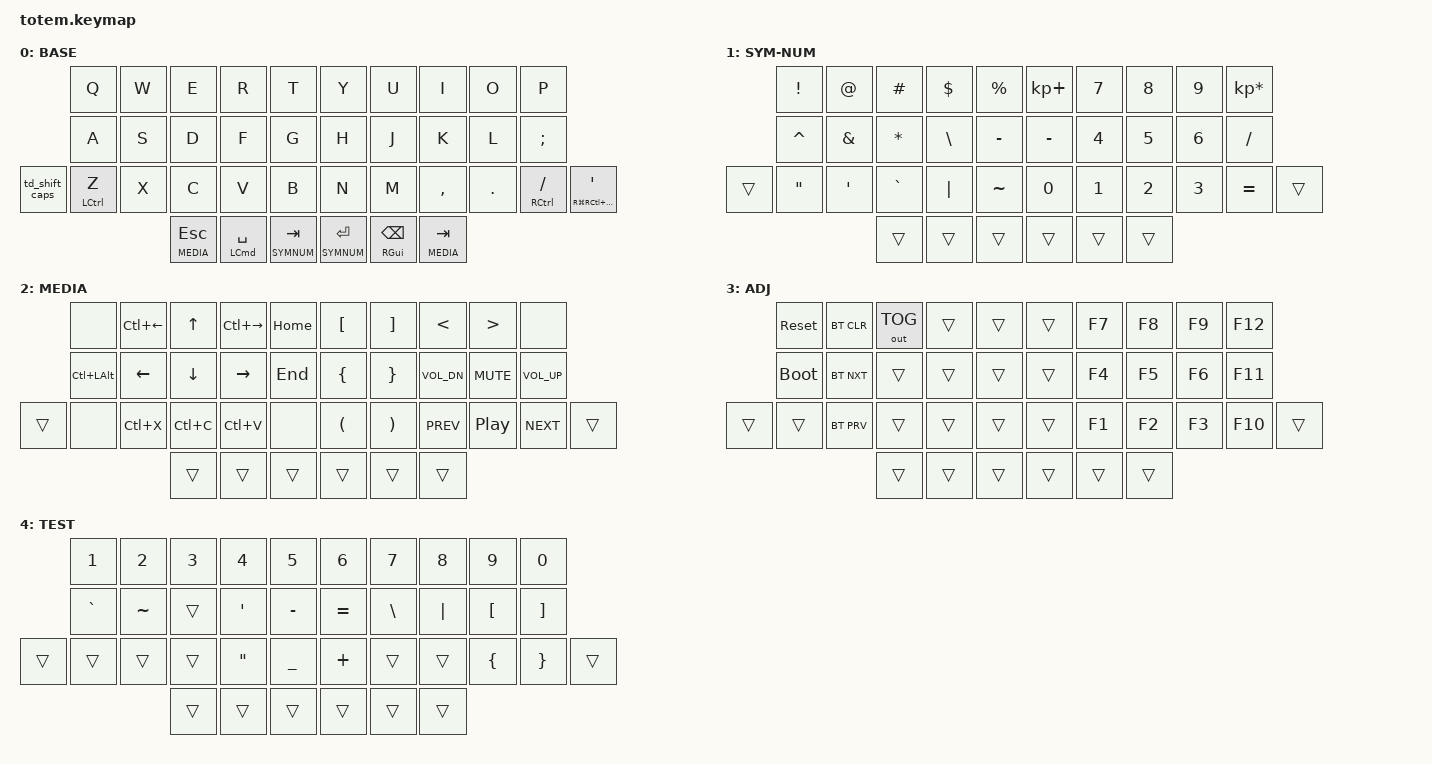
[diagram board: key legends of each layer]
//
//                                                        ▀▀▀▀▀     ▀▀▀▀▀          ▀▀█▀▀
//                                                        ▄▀▀▀▄  ▄  ▄▀▀▀▄  ▄  ▄▀▀▀▄  █  ▄▀▀▀▄
//                                                        █   █  █  █   █  █  █   █  █  █   █
//                                                         ▀▀▀   █   ▀▀▀   █   ▀▀▀   ▀   ▀▀▀
//                                                               █      ▄▄▄█▄▄▄    █   █  
//                                                               ▀      █  █  █     █▄█
//                                                             ▀▀▀▀▀    █  █  █      ▀
//                                                                      ▀  ▀  ▀
//
// ▄▄▄▄▄▄▄▄▄▄▄▄▄▄▄▄▄▄▄▄▄▄▄▄▄▄▄▄▄▄▄▄▄▄▄▄▄▄▄▄▄▄▄▄▄▄▄▄▄▄▄▄▄▄▄▄▄▄▄▄▄▄▄▄▄▄▄▄▄▄▄▄▄▄▄▄▄▄▄▄▄▄▄▄▄▄▄▄▄▄▄▄▄▄▄▄▄▄▄▄▄▄▄▄▄▄▄▄▄▄▄▄▄▄▄▄▄▄▄▄▄▄▄▄▄▄▄▄▄▄▄▄▄▄▄▄▄▄▄▄▄▄▄▄▄▄▄▄▄

#include <behaviors.dtsi>
#include <dt-bindings/zmk/bt.h>
#include <dt-bindings/zmk/keys.h>
#include <dt-bindings/zmk/outputs.h>

#define BASE   0
#define SYMNUM 1
#define MEDIA  2
#define ADJ    3
#define TEST   4

&mt {
    quick-tap-ms = <100>;
    global-quick-tap;
    flavor = "tap-preferred";
    tapping-term-ms = <250>;
};

/ {
    combos {
        compatible = "zmk,combos";

        combo_esc {
            timeout-ms = <50>;
            key-positions = <0 1>;
            bindings = <&kp ESC>;
        };

        combo_adj {
            timeout-ms = <50>;
            key-positions = <34 35>;
            bindings = <&mo ADJ>;
        };

        Backspace {
            bindings = <&kp BACKSPACE>;
            key-positions = <33 36>;
        };
    };

    behaviors {
        td_shift_caps: tap_dance_shift_caps {
            compatible = "zmk,behavior-tap-dance";
            #binding-cells = <0>;
            tapping-term-ms = <200>;
            bindings = <&kp LSHFT>, <&kp CAPS>;
        };
    };

    macros {
        gif: gif {
            label = "giphy";
            compatible = "zmk,behavior-macro";
            #binding-cells = <0>;
            bindings =
                <&macro_press>,
                <&kp LSHFT>,
                <&macro_tap>,
                <&kp N2>,
                <&macro_release>,
                <&kp LSHFT>,
                <&macro_tap>,
                <&kp G &kp I &kp F>;
        };
    };

    keymap {
        compatible = "zmk,keymap";

        // ▄▄▄▄▄▄▄▄▄▄▄▄▄▄▄▄▄▄▄▄▄▄▄▄▄▄▄▄▄▄▄▄▄▄▄▄▄▄▄▄▄▄▄▄▄▄▄▄▄▄▄▄▄▄▄▄▄▄▄▄▄▄▄▄▄▄▄▄▄▄▄▄▄▄▄▄▄▄▄▄▄▄▄▄▄▄▄▄▄▄▄▄▄▄▄▄▄▄▄▄▄▄▄▄▄▄▄▄▄▄▄▄▄▄▄▄▄▄▄▄▄▄▄▄▄▄▄▄▄▄▄▄▄▄▄▄▄▄▄▄▄▄▄▄▄▄▄▄▄

        base_layer {
            // ┏━━━━━━━━━━━━━━━━━━━━━━━━━━━━━━━━━━━━━━━┓

            label = "BASE";

            // ┗━━━━━━━━━━━━━━━━━━━━━━━━━━━━━━━━━━━━━━━┛
            //             ┏━━━━━━━━━━━┳━━━━━━━━━━━┳━━━━━━━━━━━┳━━━━━━━━━━━┳━━━━━━━━━━━┓   ┏━━━━━━━━━━━┳━━━━━━━━━━━┳━━━━━━━━━━━┳━━━━━━━━━━━┳━━━━━━━━━━━┓
            //             ┃     Q     ┃     W     ┃     E     ┃     R     ┃     T     ┃   ┃     Y     ┃     U     ┃     I     ┃     O     ┃     P     ┃
            //             ┣━━━━━━━━━━━╋━━━━━━━━━━━╋━━━━━━━━━━━╋━━━━━━━━━━━╋━━━━━━━━━━━┫   ┣━━━━━━━━━━━╋━━━━━━━━━━━╋━━━━━━━━━━━╋━━━━━━━━━━━╋━━━━━━━━━━━┫
            //             ┃     A     ┃     S     ┃     D     ┃     F     ┃     G     ┃   ┃     H     ┃     J     ┃     K     ┃     L     ┃     ;     ┃
            // ┏━━━━━━━━━━━╋━━━━━━━━━━━╋━━━━━━━━━━━╋━━━━━━━━━━━╋━━━━━━━━━━━╋━━━━━━━━━━━┫   ┣━━━━━━━━━━━╋━━━━━━━━━━━╋━━━━━━━━━━━╋━━━━━━━━━━━╋━━━━━━━━━━━╋━━━━━━━━━━━┓
            // ┃SHFT/CAPS  ┃     Z     ┃     X     ┃     C     ┃     V     ┃     B     ┃   ┃     N     ┃     M     ┃     ,     ┃     .     ┃  / RCTRL  ┃ ' / HYPER ┃
            // ┗━━━━━━━━━━━┻━━━━━━━━━━━┻━━━━━━━━━━━╋━━━━━━━━━━━╋━━━━━━━━━━━╋━━━━━━━━━━━┫   ┣━━━━━━━━━━━╋━━━━━━━━━━━╋━━━━━━━━━━━╋━━━━━━━━━━━┻━━━━━━━━━━━┻━━━━━━━━━━━┛
            //                                     ┃ ESC/MEDIA ┃ SPC / CMD ┃TAB/SYMNUM ┃   ┃RET/SYMNUM ┃ BSPC/ CMD ┃ TAB/MEDIA ┃
            //                                     ┗━━━━━━━━━━━┻━━━━━━━━━━━┻━━━━━━━━━━━┛   ┗━━━━━━━━━━━┻━━━━━━━━━━━┻━━━━━━━━━━━┛

            bindings = <
                &kp Q        &kp W  &kp E          &kp R                   &kp T             &kp Y           &kp U          &kp I          &kp O    &kp P
                &kp A        &kp S  &kp D          &kp F                   &kp G             &kp H           &kp J          &kp K          &kp L    &kp SEMI
&td_shift_caps  &mt LCTRL Z  &kp X  &kp C          &kp V                   &kp B             &kp N           &kp M          &kp COMMA      &kp DOT  &mt RCTRL FSLH  &mt RG(RC(RA(RSHFT))) SQT
                                    &lt MEDIA ESC  &mt LEFT_COMMAND SPACE  &lt SYMNUM TAB    &lt SYMNUM RET  &mt RGUI BSPC  &lt MEDIA TAB
            >;
        };

        // ▄▄▄▄▄▄▄▄▄▄▄▄▄▄▄▄▄▄▄▄▄▄▄▄▄▄▄▄▄▄▄▄▄▄▄▄▄▄▄▄▄▄▄▄▄▄▄▄▄▄▄▄▄▄▄▄▄▄▄▄▄▄▄▄▄▄▄▄▄▄▄▄▄▄▄▄▄▄▄▄▄▄▄▄▄▄▄▄▄▄▄▄▄▄▄▄▄▄▄▄▄▄▄▄▄▄▄▄▄▄▄▄▄▄▄▄▄▄▄▄▄▄▄▄▄▄▄▄▄▄▄▄▄▄▄▄▄▄▄▄▄▄▄▄▄▄▄▄▄

        symnum_layer {
            // ┏━━━━━━━━━━━━━━━━━━━━━━━━━━━━━━━━━━━━━━━┓

            label = "SYM-NUM";

            // ┗━━━━━━━━━━━━━━━━━━━━━━━━━━━━━━━━━━━━━━━┛
            //             ┏━━━━━━━━━━━┳━━━━━━━━━━━┳━━━━━━━━━━━┳━━━━━━━━━━━┳━━━━━━━━━━━┓   ┏━━━━━━━━━━━┳━━━━━━━━━━━┳━━━━━━━━━━━┳━━━━━━━━━━━┳━━━━━━━━━━━┓
            //             ┃     !     ┃     @     ┃     #     ┃     $     ┃     %     ┃   ┃     +     ┃     7     ┃     8     ┃     9     ┃     *     ┃
            //             ┣━━━━━━━━━━━╋━━━━━━━━━━━╋━━━━━━━━━━━╋━━━━━━━━━━━╋━━━━━━━━━━━┫   ┣━━━━━━━━━━━╋━━━━━━━━━━━╋━━━━━━━━━━━╋━━━━━━━━━━━╋━━━━━━━━━━━┫
            //             ┃     ^     ┃     &     ┃     *     ┃     \     ┃     -     ┃   ┃     -     ┃     4     ┃     5     ┃     6     ┃     /     ┃
            // ┏━━━━━━━━━━━╋━━━━━━━━━━━╋━━━━━━━━━━━╋━━━━━━━━━━━╋━━━━━━━━━━━╋━━━━━━━━━━━┫   ┣━━━━━━━━━━━╋━━━━━━━━━━━╋━━━━━━━━━━━╋━━━━━━━━━━━╋━━━━━━━━━━━╋━━━━━━━━━━━┓
            // ┃           ┃     "     ┃     '     ┃     `     ┃     |     ┃     ~     ┃   ┃     0     ┃     1     ┃     2     ┃     3     ┃     =     ┃           ┃
            // ┗━━━━━━━━━━━┻━━━━━━━━━━━┻━━━━━━━━━━━╋━━━━━━━━━━━╋━━━━━━━━━━━╋━━━━━━━━━━━┫   ┣━━━━━━━━━━━╋━━━━━━━━━━━╋━━━━━━━━━━━╋━━━━━━━━━━━┻━━━━━━━━━━━┻━━━━━━━━━━━┛
            //                                     ┃           ┃           ┃           ┃   ┃           ┃           ┃           ┃
            //                                     ┗━━━━━━━━━━━┻━━━━━━━━━━━┻━━━━━━━━━━━┛   ┗━━━━━━━━━━━┻━━━━━━━━━━━┻━━━━━━━━━━━┛

            bindings = <
        &kp EXCL   &kp AT    &kp HASH   &kp DLLR  &kp PRCNT    &kp KP_PLUS  &kp N7  &kp N8  &kp N9  &kp KP_MULTIPLY
        &kp CARET  &kp AMPS  &kp ASTRK  &kp BSLH  &kp MINUS    &kp MINUS    &kp N4  &kp N5  &kp N6  &kp FSLH
&trans  &kp DQT    &kp SQT   &kp GRAVE  &kp PIPE  &kp TILDE    &kp N0       &kp N1  &kp N2  &kp N3  &kp EQUAL        &trans
                             &trans     &trans    &trans       &trans       &trans  &trans
            >;
        };

        // ▄▄▄▄▄▄▄▄▄▄▄▄▄▄▄▄▄▄▄▄▄▄▄▄▄▄▄▄▄▄▄▄▄▄▄▄▄▄▄▄▄▄▄▄▄▄▄▄▄▄▄▄▄▄▄▄▄▄▄▄▄▄▄▄▄▄▄▄▄▄▄▄▄▄▄▄▄▄▄▄▄▄▄▄▄▄▄▄▄▄▄▄▄▄▄▄▄▄▄▄▄▄▄▄▄▄▄▄▄▄▄▄▄▄▄▄▄▄▄▄▄▄▄▄▄▄▄▄▄▄▄▄▄▄▄▄▄▄▄▄▄▄▄▄▄▄▄▄▄

        media_layer {
            // ┏━━━━━━━━━━━━━━━━━━━━━━━━━━━━━━━━━━━━━━━┓

            label = "MEDIA";

            // ┗━━━━━━━━━━━━━━━━━━━━━━━━━━━━━━━━━━━━━━━┛
            //             ┏━━━━━━━━━━━┳━━━━━━━━━━━┳━━━━━━━━━━━┳━━━━━━━━━━━┳━━━━━━━━━━━┓   ┏━━━━━━━━━━━┳━━━━━━━━━━━┳━━━━━━━━━━━┳━━━━━━━━━━━┳━━━━━━━━━━━┓
            //             ┃           ┃ CTRL+LEFT ┃     UP    ┃CTRL+RIGHT ┃   HOME    ┃   ┃     [     ┃     ]     ┃     <     ┃     >     ┃           ┃
            //             ┣━━━━━━━━━━━╋━━━━━━━━━━━╋━━━━━━━━━━━╋━━━━━━━━━━━╋━━━━━━━━━━━┫   ┣━━━━━━━━━━━╋━━━━━━━━━━━╋━━━━━━━━━━━╋━━━━━━━━━━━╋━━━━━━━━━━━┫
            //             ┃ CTRL+ALT  ┃   LEFT    ┃    DOWN   ┃   RIGHT   ┃    END    ┃   ┃     {     ┃     }     ┃   VOL-    ┃   MUTE    ┃   VOL+    ┃
            // ┏━━━━━━━━━━━╋━━━━━━━━━━━╋━━━━━━━━━━━╋━━━━━━━━━━━╋━━━━━━━━━━━╋━━━━━━━━━━━┫   ┣━━━━━━━━━━━╋━━━━━━━━━━━╋━━━━━━━━━━━╋━━━━━━━━━━━╋━━━━━━━━━━━╋━━━━━━━━━━━┓
            // ┃           ┃           ┃           ┃           ┃           ┃           ┃   ┃     (     ┃     )     ┃   PREV    ┃   PLAY    ┃   NEXT    ┃           ┃
            // ┗━━━━━━━━━━━┻━━━━━━━━━━━┻━━━━━━━━━━━╋━━━━━━━━━━━╋━━━━━━━━━━━╋━━━━━━━━━━━┫   ┣━━━━━━━━━━━╋━━━━━━━━━━━╋━━━━━━━━━━━╋━━━━━━━━━━━┻━━━━━━━━━━━┻━━━━━━━━━━━┛
            //                                     ┃           ┃           ┃           ┃   ┃           ┃           ┃           ┃
            //                                     ┗━━━━━━━━━━━┻━━━━━━━━━━━┻━━━━━━━━━━━┛   ┗━━━━━━━━━━━┻━━━━━━━━━━━┻━━━━━━━━━━━┛

            bindings = <
        &none         &kp LC(LEFT)  &kp UP     &kp LC(RIGHT)  &kp HOME    &kp LBKT  &kp RBKT  &kp LT        &kp GT      &none
        &kp LC(LALT)  &kp LEFT      &kp DOWN   &kp RIGHT      &kp END     &kp LBRC  &kp RBRC  &kp C_VOL_DN  &kp C_MUTE  &kp C_VOL_UP
&trans  &none         &kp LC(X)     &kp LC(C)  &kp LC(V)      &none       &kp LPAR  &kp RPAR  &kp C_PREV    &kp C_PP    &kp C_NEXT    &trans
                                    &trans     &trans         &trans      &trans    &trans    &trans
            >;
        };

        // ▄▄▄▄▄▄▄▄▄▄▄▄▄▄▄▄▄▄▄▄▄▄▄▄▄▄▄▄▄▄▄▄▄▄▄▄▄▄▄▄▄▄▄▄▄▄▄▄▄▄▄▄▄▄▄▄▄▄▄▄▄▄▄▄▄▄▄▄▄▄▄▄▄▄▄▄▄▄▄▄▄▄▄▄▄▄▄▄▄▄▄▄▄▄▄▄▄▄▄▄▄▄▄▄▄▄▄▄▄▄▄▄▄▄▄▄▄▄▄▄▄▄▄▄▄▄▄▄▄▄▄▄▄▄▄▄▄▄▄▄▄▄▄▄▄▄▄▄▄

        adjust_layer {
            // ┏━━━━━━━━━━━━━━━━━━━━━━━━━━━━━━━━━━━━━━━┓

            label = "ADJ";

            // ┗━━━━━━━━━━━━━━━━━━━━━━━━━━━━━━━━━━━━━━━┛
            //             ┏━━━━━━━━━━━┳━━━━━━━━━━━┳━━━━━━━━━━━┳━━━━━━━━━━━┳━━━━━━━━━━━┓   ┏━━━━━━━━━━━┳━━━━━━━━━━━┳━━━━━━━━━━━┳━━━━━━━━━━━┳━━━━━━━━━━━┓
            //             ┃   RESET   ┃ BT CLEAR  ┃  OUT TOG  ┃           ┃           ┃   ┃           ┃    F7     ┃    F8     ┃    F9     ┃    F12    ┃
            //             ┣━━━━━━━━━━━╋━━━━━━━━━━━╋━━━━━━━━━━━╋━━━━━━━━━━━╋━━━━━━━━━━━┫   ┣━━━━━━━━━━━╋━━━━━━━━━━━╋━━━━━━━━━━━╋━━━━━━━━━━━╋━━━━━━━━━━━┫
            //             ┃ BOOTLOAD  ┃ BT NEXT   ┃           ┃           ┃           ┃   ┃           ┃    F4     ┃    F5     ┃    F6     ┃    F11    ┃
            // ┏━━━━━━━━━━━╋━━━━━━━━━━━╋━━━━━━━━━━━╋━━━━━━━━━━━╋━━━━━━━━━━━╋━━━━━━━━━━━┫   ┣━━━━━━━━━━━╋━━━━━━━━━━━╋━━━━━━━━━━━╋━━━━━━━━━━━╋━━━━━━━━━━━╋━━━━━━━━━━━┓
            // ┃           ┃           ┃ BT PREV   ┃           ┃           ┃           ┃   ┃           ┃    F1     ┃    F2     ┃    F3     ┃    F10    ┃           ┃
            // ┗━━━━━━━━━━━┻━━━━━━━━━━━┻━━━━━━━━━━━╋━━━━━━━━━━━╋━━━━━━━━━━━╋━━━━━━━━━━━┫   ┣━━━━━━━━━━━╋━━━━━━━━━━━╋━━━━━━━━━━━╋━━━━━━━━━━━┻━━━━━━━━━━━┻━━━━━━━━━━━┛
            //                                     ┃           ┃           ┃           ┃   ┃           ┃           ┃           ┃
            //                                     ┗━━━━━━━━━━━┻━━━━━━━━━━━┻━━━━━━━━━━━┛   ┗━━━━━━━━━━━┻━━━━━━━━━━━┻━━━━━━━━━━━┛

            bindings = <
        &sys_reset   &bt BT_CLR  &out OUT_TOG  &trans  &trans    &trans  &kp F7  &kp F8  &kp F9  &kp F12
        &bootloader  &bt BT_NXT  &trans        &trans  &trans    &trans  &kp F4  &kp F5  &kp F6  &kp F11
&trans  &trans       &bt BT_PRV  &trans        &trans  &trans    &trans  &kp F1  &kp F2  &kp F3  &kp F10  &trans
                                 &trans        &trans  &trans    &trans  &trans  &trans
            >;
        };

        // ▄▄▄▄▄▄▄▄▄▄▄▄▄▄▄▄▄▄▄▄▄▄▄▄▄▄▄▄▄▄▄▄▄▄▄▄▄▄▄▄▄▄▄▄▄▄▄▄▄▄▄▄▄▄▄▄▄▄▄▄▄▄▄▄▄▄▄▄▄▄▄▄▄▄▄▄▄▄▄▄▄▄▄▄▄▄▄▄▄▄▄▄▄▄▄▄▄▄▄▄▄▄▄▄▄▄▄▄▄▄▄▄▄▄▄▄▄▄▄▄▄▄▄▄▄▄▄▄▄▄▄▄▄▄▄▄▄▄▄▄▄▄▄▄▄▄▄▄▄

        test_layer {
            // ┏━━━━━━━━━━━━━━━━━━━━━━━━━━━━━━━━━━━━━━━┓

            label = "TEST";

            // ┗━━━━━━━━━━━━━━━━━━━━━━━━━━━━━━━━━━━━━━━┛
            //             ┏━━━━━━━━━━━┳━━━━━━━━━━━┳━━━━━━━━━━━┳━━━━━━━━━━━┳━━━━━━━━━━━┓   ┏━━━━━━━━━━━┳━━━━━━━━━━━┳━━━━━━━━━━━┳━━━━━━━━━━━┳━━━━━━━━━━━┓
            //             ┃     1     ┃     2     ┃     3     ┃     4     ┃     5     ┃   ┃     6     ┃     7     ┃     8     ┃     9     ┃     0     ┃
            //             ┣━━━━━━━━━━━╋━━━━━━━━━━━╋━━━━━━━━━━━╋━━━━━━━━━━━╋━━━━━━━━━━━┫   ┣━━━━━━━━━━━╋━━━━━━━━━━━╋━━━━━━━━━━━╋━━━━━━━━━━━╋━━━━━━━━━━━┫
            //             ┃     `     ┃     ~     ┃           ┃     '     ┃     -     ┃   ┃     =     ┃     \     ┃     |     ┃     [     ┃     ]     ┃
            // ┏━━━━━━━━━━━╋━━━━━━━━━━━╋━━━━━━━━━━━╋━━━━━━━━━━━╋━━━━━━━━━━━╋━━━━━━━━━━━┫   ┣━━━━━━━━━━━╋━━━━━━━━━━━╋━━━━━━━━━━━╋━━━━━━━━━━━╋━━━━━━━━━━━╋━━━━━━━━━━━┓
            // ┃           ┃           ┃           ┃           ┃     "     ┃     _     ┃   ┃     +     ┃           ┃           ┃     {     ┃     }     ┃           ┃
            // ┗━━━━━━━━━━━┻━━━━━━━━━━━┻━━━━━━━━━━━╋━━━━━━━━━━━╋━━━━━━━━━━━╋━━━━━━━━━━━┫   ┣━━━━━━━━━━━╋━━━━━━━━━━━╋━━━━━━━━━━━╋━━━━━━━━━━━┻━━━━━━━━━━━┻━━━━━━━━━━━┛
            //                                     ┃           ┃           ┃           ┃   ┃           ┃           ┃           ┃
            //                                     ┗━━━━━━━━━━━┻━━━━━━━━━━━┻━━━━━━━━━━━┛   ┗━━━━━━━━━━━┻━━━━━━━━━━━┻━━━━━━━━━━━┛

            bindings = <
        &kp N1     &kp N2     &kp N3  &kp N4   &kp N5       &kp N6     &kp N7    &kp N8    &kp N9    &kp N0
        &kp GRAVE  &kp TILDE  &trans  &kp SQT  &kp MINUS    &kp EQUAL  &kp BSLH  &kp PIPE  &kp LBKT  &kp RBKT
&trans  &trans     &trans     &trans  &kp DQT  &kp UNDER    &kp PLUS   &trans    &trans    &kp LBRC  &kp RBRC  &trans
                              &trans  &trans   &trans       &trans     &trans    &trans
            >;
        };
    };
};
